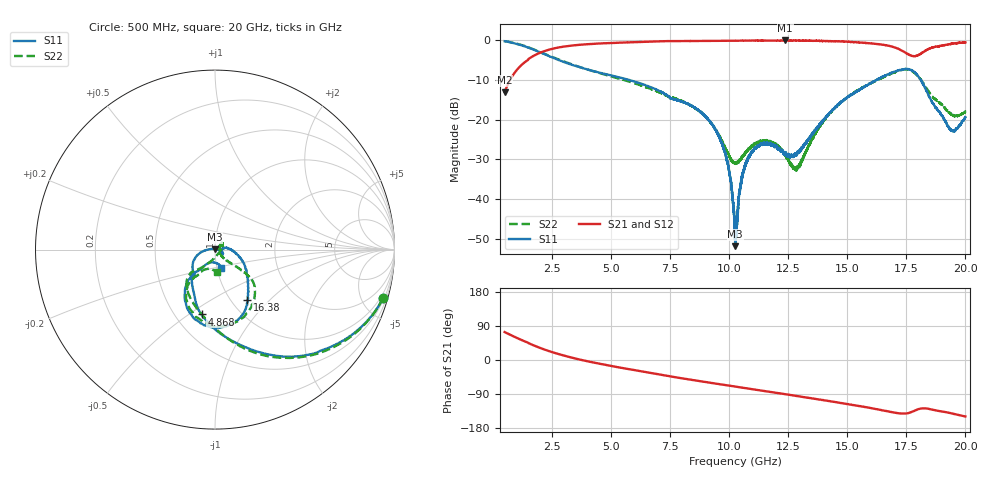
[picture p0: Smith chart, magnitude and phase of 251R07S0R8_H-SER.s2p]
!{201R07S0R8}
!Johanson Technology Inc.
!www.johansontechnology.com
!Test Board Conditions:
!Substrate Type  RO4350B
!Substrate Thickness  10 mil
!Substrate Dk  3.66
!TL Type: GCPW
!TL Trace Width  21 mil
!TL Gap  20 mil
!Electrode orientation  Horizontal
!DUT TOPOLOGY	SERIES
!Mounting Pad LxW  16x21 mil
!Agilent Technologies,N5230A,MY45001966,A.07.50.67
!Agilent N5230A: A.07.50.67
! Created Mon Mar  9 16:17:35 2020
# mhz S ma R 50
! 2 Port Network Data from SP1.SP block
! freq  magS11  angS11  magS21  angS21  magS12  angS12  magS22  angS22
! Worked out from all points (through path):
!   19501 points, 500 MHz to 20 GHz, reference 50 ohm
!   highest |S21| = -0.04 dB at 12.37 GHz (marker M1); lowest = -13.1 dB at 500 MHz (marker M2)
!   lowest |S11| = -51.9 dB at 10.26 GHz (marker M3), VSWR 1.01, Z = 49.9 + j0.245 ohm
!   |S11| at or under -10 dB: 5.773 GHz to 16.24 GHz (10.47 GHz wide, 95.1 % of centre); 16.24125 GHz to 16.24224 GHz (989.3 kHz wide, 0.00609 % of centre); 18.11 GHz to end of sweep (the widest 3 of 5)
!   |S22| runs from -32.9 to -0.2 dB; largest |S21 - S12| = 0.017
!   S11 on the Smith chart (normalised r, x): 500 MHz: 0.65, -6.96; 4.868 GHz: 0.67, -0.56; 16.38 GHz: 1.19, -0.74; 20 GHz: 1.05, -0.22
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500  0.9742 -16.2  0.222 73.8  0.2226 74.0  0.9748 -16.1
1719  0.7641 -50.8  0.6348 39.0  0.6365 39.0  0.7705 -50.9
3750  0.4515 -88.9  0.8808 0.2  0.8814 0.2  0.4523 -87.9
4868  0.3692 -101.7  0.9205 -13.9  0.9208 -14.0  0.3603 -103.2
7000  0.2334 -122.8  0.9685 -37.8  0.9682 -37.8  0.2242 -133.8
9396  0.07631 -169.8  0.9828 -61.9  0.983 -62.0  0.0779 -112.8
9925  0.02962 176.0  0.9855 -66.9  0.9852 -66.9  0.03896 -83.5
10250  0.003034 118.1  0.9866 -70.0  0.9869 -70.0  0.02854 -40.4
10259  0.002543 105.0  0.9871 -70.1  0.9866 -70.1  0.02828 -38.6
10594  0.02144 -4.0  0.9887 -73.4  0.9894 -73.2  0.03494 2.9
10992  0.03982 -17.7  0.9917 -77.1  0.9916 -77.0  0.04706 26.3
11671  0.0489 -32.7  0.9922 -83.5  0.9917 -83.6  0.05325 44.6
12371  0.03828 -26.3  0.9948 -90.1  0.9944 -90.3  0.03696 39.9
12866  0.03638 1.0  0.9916 -94.8  0.9927 -95.1  0.02469 -6.9
13500  0.06426 9.0  0.9895 -101.3  0.9865 -101.3  0.05523 -45.1
14689  0.1622 -21.3  0.9708 -113.1  0.9647 -113.1  0.1598 -38.5
16381  0.3317 -57.0  0.8881 -131.4  0.8838 -131.3  0.3259 -46.9
16750  0.3729 -63.1  0.8535 -135.8  0.8414 -135.9  0.3682 -55.1
17557  0.4342 -91.0  0.6736 -140.5  0.6692 -140.1  0.4256 -87.8
18128  0.3099 -123.1  0.683 -127.9  0.6853 -128.0  0.3138 -120.8
19387  0.07449 -104.7  0.8992 -140.5  0.9013 -140.2  0.117 -112.8
20000  0.1074 -70.6  0.9403 -149.1  0.9405 -149.0  0.1262 -86.1
